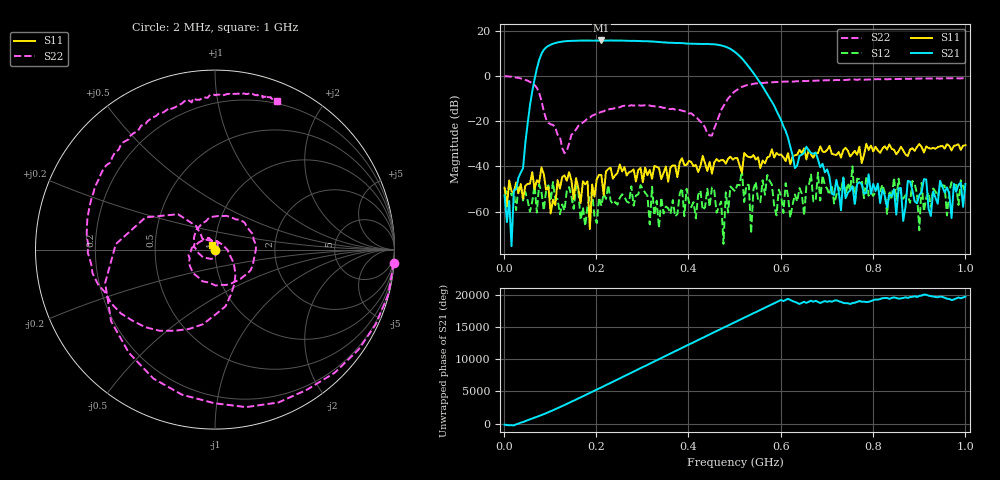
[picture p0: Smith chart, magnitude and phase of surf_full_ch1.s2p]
!Keysight Technologies N9923A: A.12.45
!Date: Tuesday, 28 October 2025 00:02:53
!Timezone: (UTC+08:00) Kuala Lumpur, Singapore
!Model: N9923A
!Serial: MY61181427
!GPS Latitude:
!GPS Longitude:
!GPS TimeStamp: 0001-01-01 00:00:00Z
!GPS Seconds Since Last Read: 0
!CHECKSUM:0046725394
!Correction: S11(ON U)S21(ON U)S12(ON U)S22(ON U)
!S2P File: Measurements:S11,S21,S12,S22:
# Hz S DB R 50
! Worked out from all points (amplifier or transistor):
!   201 points, 2 MHz to 1 GHz, reference 50 ohm
!   highest |S21| = 15.9 dB at 211.6 MHz (marker M1)
!   |S21| within 3 dB of that: 92.5 MHz to 483.3 MHz (390.8 MHz wide, 136 % of centre)
!   unconditionally stable (mu >= 1): start of sweep to end of sweep
!   at 166.7 MHz: K = 122.90, MAG = 15.8 dB, |S12| = -63.7 dB
!   at 501 MHz: K = 40.62, MAG = 11.8 dB, |S12| = -51.0 dB
!   at 1 GHz: K = 8938.10, MAG = -40.6 dB, |S12| = -51.6 dB
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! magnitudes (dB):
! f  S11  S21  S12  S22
! 2 MHz  -49.4  -52.8  -49.9  0.0
! 16.97 MHz  -51.0  -75.4  -52.8  -0.2
! 21.96 MHz  -51.5  -50.8  -51.5  -0.4
! 81.84 MHz  -40.4  10.0  -51.4  -10.9
! 101.8 MHz  -60.9  14.0  -55.3  -21.3
! 171.7 MHz  -46.6  15.8  -58.3  -20.5
! 186.6 MHz  -67.7  15.8  -53.0  -18.3
! 211.6 MHz  -43.8  15.9  -57.5  -15.8
! 336.3 MHz  -40.7  15.2  -67.3  -13.6
! 451.1 MHz  -43.2  14.2  -49.3  -26.3
! 476.1 MHz  -37.2  13.4  -74.4  -13.2
! 481 MHz  -38.8  13.1  -51.5  -11.5
! 501 MHz  -36.3  10.7  -51.0  -6.7
! 530.9 MHz  -35.8  4.2  -48.3  -3.7
! 535.9 MHz  -36.0  2.8  -69.7  -3.6
! 570.9 MHz  -36.0  -7.9  -43.8  -2.8
! 670.7 MHz  -36.2  -34.4  -55.5  -2.1
! 730.5 MHz  -36.1  -59.4  -51.0  -1.7
! 835.3 MHz  -30.2  -52.6  -50.8  -1.3
! 900.2 MHz  -30.0  -52.8  -68.3  -1.0
! 905.2 MHz  -31.4  -51.3  -47.3  -1.0
! 1 GHz  -30.6  -47.7  -51.6  -0.9
